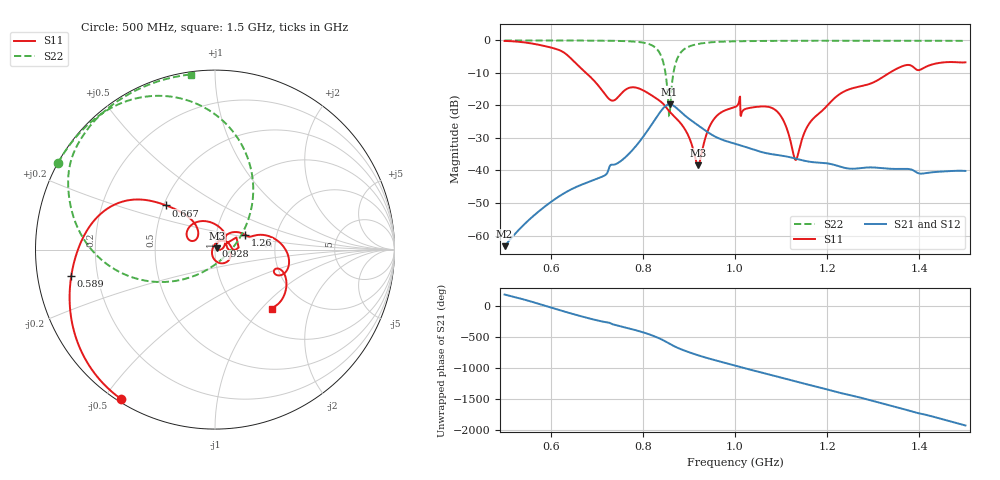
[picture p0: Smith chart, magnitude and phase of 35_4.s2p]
! TOUCHSTONE file generated by CST MICROWAVE STUDIO
! Date and time: Wed Oct 28 19:20:16 2020
! Project name: Scenario_1_Circular_Tissue_out_of_Line.cst
! Parameters = {dy1=243.594; L_HA=400; MT=2.54; Rad_Dielectric=30; Rad_Lower=7.3; Rad_Upper=30; a_HA=580; a_WG=246; b_HA=500; b_WG=121; c_HA=0; c_WG=187; d_feed=85; dx1=693; h_feed=15; h_lower=18; h_upper=40}
! Header version: 2018
! Port assignment regex: !\s*Touchstone port\s*([0-9]+)\s*=\s*(CST MWS port|CST DS port)\s*([0-9]+|Zmin|Zmax)\s*\(\"(.*)\"\)(\s*mode\s*([0-9]+))?.*
! Touchstone port assignment:
! Touchstone port 1 = CST MWS port 1 ("")
! Touchstone port 2 = CST MWS port 2 ("")
# GHz S DB R 50
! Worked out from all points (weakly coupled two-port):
!   1001 points, 500 MHz to 1.5 GHz, reference 50 ohm
!   highest |S21| = -19.67 dB at 858 MHz (marker M1); lowest = -63.3 dB at 500 MHz (marker M2)
!   lowest |S11| = -38.5 dB at 920 MHz (marker M3), VSWR 1.02, Z = 51 + j0.735 ohm
!   |S11| at or under -10 dB: 677 MHz to 1.335 GHz (657.8 MHz wide, 65.4 % of centre)
!   |S22| runs from -23.4 to 0.0 dB; largest |S21 - S12| = 0.00025
!   S11 on the Smith chart (normalised r, x): 500 MHz: 0.01, -0.55; 589 MHz: 0.10, -0.09; 667 MHz: 0.52, +0.29; 928 MHz: 1.01, +0.04; 1.26 GHz: 1.39, +0.23; 1.5 GHz: 1.38, -1.16
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0.5  -0.15 -122.3  -63.28 178.8  -63.28 178.8  -0.01 151.2
0.589  -1.79 -169.7  -50.90 -3.8  -50.91 -3.8  -0.02 145.0
0.634  -4.26 155.8  -46.60 -103.6  -46.60 -103.6  -0.03 141.4
0.667  -8.71 137.8  -44.37 -172.4  -44.37 -172.4  -0.04 138.4
0.731  -18.42 143.3  -38.24 71.2  -38.34 71.8  -0.11 130.7
0.779  -14.40 136.4  -33.47 -23.2  -33.47 -23.2  -0.33 120.6
0.815  -16.53 95.5  -26.75 -104.3  -26.75 -104.3  -1.21 103.7
0.834  -18.31 73.7  -22.75 -159.7  -22.75 -159.7  -3.28 83.3
0.847  -19.94 56.0  -20.44 153.2  -20.44 153.2  -8.35 56.2
0.858  -21.88 43.8  -19.67 108.1  -19.67 108.1  -23.39 -64.4
0.877  -24.65 24.5  -21.29 37.2  -21.29 37.2  -4.89 -168.9
0.92  -38.46 37.1  -26.14 -77.7  -26.13 -77.7  -1.09 157.9
0.928  -34.38 72.6  -26.96 -96.4  -26.96 -96.4  -0.90 155.1
0.954  -24.25 53.9  -29.36 -151.5  -29.36 -151.5  -0.51 148.2
1  -20.47 4.2  -31.77 117.5  -31.77 117.5  -0.27 140.2
1.089  -21.55 -66.0  -35.18 -54.7  -35.18 -54.7  -0.13 130.7
1.109  -25.84 -97.8  -35.62 -93.8  -35.62 -93.8  -0.12 129.0
1.132  -36.75 160.8  -36.36 -138.8  -36.36 -138.8  -0.11 127.1
1.167  -24.47 61.1  -37.41 156.2  -37.41 156.2  -0.09 124.2
1.26  -14.51 25.6  -39.44 -16.4  -39.44 -16.4  -0.08 117.1
1.334  -10.07 13.5  -39.45 -160.2  -39.45 -160.2  -0.09 111.5
1.5  -6.74 -45.9  -40.14 -125.7  -40.12 -125.7  -0.13 97.9
